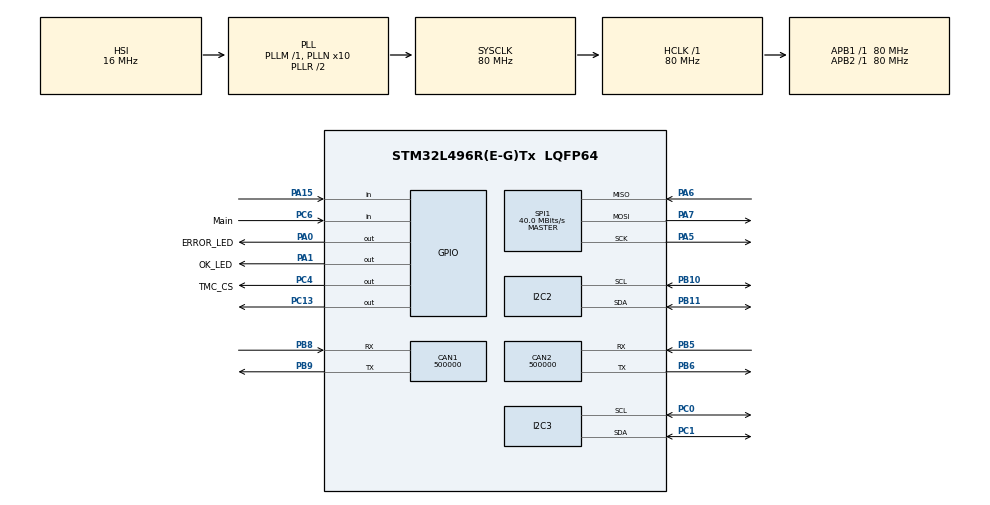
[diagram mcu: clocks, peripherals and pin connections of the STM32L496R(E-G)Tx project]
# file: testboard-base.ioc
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CAN1.BS1=CAN_BS1_8TQ
CAN1.BS2=CAN_BS2_1TQ
CAN1.CalculateBaudRate=500000
CAN1.CalculateTimeBit=2000
CAN1.CalculateTimeQuantum=200.0
CAN2.BS1=CAN_BS1_8TQ
CAN2.BS2=CAN_BS2_1TQ
CAN2.CalculateBaudRate=500000
CAN2.CalculateTimeBit=2000
CAN2.CalculateTimeQuantum=200.0
FREERTOS.Tasks01=defaultTask,24,128,StartDefaultTask,Default,NULL,Dynamic,NULL,NULL
I2C2.Timing=0x10909CEC
I2C3.Timing=0x10909CEC
Mcu.Family=STM32L4
Mcu.Name=STM32L496R(E-G)Tx
Mcu.Package=LQFP64
NVIC.CAN1_RX0_IRQn=true\:5\:0\:false\:false\:true\:true\:true\:true\:true
NVIC.CAN1_RX1_IRQn=true\:5\:0\:false\:false\:true\:true\:true\:true\:true
NVIC.CAN2_RX0_IRQn=true\:5\:0\:false\:false\:true\:true\:true\:true\:true
NVIC.CAN2_RX1_IRQn=true\:5\:0\:false\:false\:true\:true\:true\:true\:true
NVIC.PriorityGroup=NVIC_PRIORITYGROUP_4
NVIC.TIM1_TRG_COM_TIM17_IRQn=true\:15\:0\:false\:false\:true\:false\:false\:true\:true
NVIC.TimeBase=TIM1_TRG_COM_TIM17_IRQn
NVIC.TimeBaseIP=TIM17
PA0.GPIO_Label=ERROR_LED
PA0.Signal=GPIO_Output
PA1.GPIO_Label=OK_LED
PA1.Signal=GPIO_Output
PA13\ (JTMS/SWDIO).Mode=Serial_Wire
PA13\ (JTMS/SWDIO).Signal=SYS_JTMS-SWDIO
PA14\ (JTCK/SWCLK).Mode=Serial_Wire
PA14\ (JTCK/SWCLK).Signal=SYS_JTCK-SWCLK
PA15\ (JTDI).Signal=GPIO_Input
PA2.Signal=ADCx_IN7
PA5.Mode=Full_Duplex_Master
PA5.Signal=SPI1_SCK
PA6.Mode=Full_Duplex_Master
PA6.Signal=SPI1_MISO
PA7.Mode=Full_Duplex_Master
PA7.Signal=SPI1_MOSI
PB10.Mode=I2C
PB10.Signal=I2C2_SCL
PB11.Mode=I2C
PB11.Signal=I2C2_SDA
PB5.Mode=CAN_Activate
PB5.Signal=CAN2_RX
PB6.Mode=CAN_Activate
PB6.Signal=CAN2_TX
PB8.Mode=CAN_Activate
PB8.Signal=CAN1_RX
PB9.Mode=CAN_Activate
PB9.Signal=CAN1_TX
PC0.Mode=I2C
PC0.Signal=I2C3_SCL
PC1.Mode=I2C
PC1.Signal=I2C3_SDA
PC13.Signal=GPIO_Output
PC4.GPIO_Label=TMC_CS
PC4.Signal=GPIO_Output
PC6.GPIO_Label=Main
PC6.Signal=GPIO_Input
PH0-OSC_IN\ (PH0).Mode=HSE-External-Oscillator
PH0-OSC_IN\ (PH0).Signal=RCC_OSC_IN
PH1-OSC_OUT\ (PH1).Mode=HSE-External-Oscillator
PH1-OSC_OUT\ (PH1).Signal=RCC_OSC_OUT
ProjectManager.HeapSize=0x200
ProjectManager.StackSize=0x400
ProjectManager.TargetToolchain=Makefile
RCC.ADCFreq_Value=48000000
RCC.AHBFreq_Value=80000000
RCC.APB1Freq_Value=80000000
RCC.APB1TimFreq_Value=80000000
RCC.APB2Freq_Value=80000000
RCC.APB2TimFreq_Value=80000000
RCC.CortexFreq_Value=80000000
RCC.HCLKFreq_Value=80000000
RCC.HSE_VALUE=16000000
RCC.HSI48_VALUE=48000000
RCC.HSI_VALUE=16000000
RCC.LSE_VALUE=32768
RCC.MSI_VALUE=4000000
RCC.PLLN=10
RCC.PLLSAI1N=12
RCC.PLLSAI1Q=RCC_PLLQ_DIV4
RCC.PLLSAI1R=RCC_PLLR_DIV4
RCC.PLLSourceVirtual=RCC_PLLSOURCE_HSI
RCC.SYSCLKFreq_VALUE=80000000
RCC.SYSCLKSource=RCC_SYSCLKSOURCE_PLLCLK
RCC.USBFreq_Value=48000000
RCC.VCOOutputFreq_Value=160000000
SH.ADCx_IN7.0=ADC2_IN7
SPI1.CalculateBaudRate=40.0 MBits/s
SPI1.Direction=SPI_DIRECTION_2LINES
SPI1.Mode=SPI_MODE_MASTER
SPI1.VirtualType=VM_MASTER
TIM3.Channel-Output\ Compare1\ No\ Output=TIM_CHANNEL_1
TIM3.Period=65535
TIM3.Prescaler=80-1
VP_FREERTOS_VS_CMSIS_V2.Mode=CMSIS_V2
VP_SYS_VS_tim17.Mode=TIM17
VP_TIM3_VS_no_output1.Mode=Output Compare1 No Output
board=custom

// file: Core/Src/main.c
/* USER CODE BEGIN Header */
/**
  ******************************************************************************
  * @file           : main.c
  * @brief          : Main program body
  ******************************************************************************
  * @attention
  *
  * Copyright (c) 2023 STMicroelectronics.
  * All rights reserved.
  *
  * This software is licensed under terms that can be found in the LICENSE file
  * in the root directory of this software component.
  * If no LICENSE file comes with this software, it is provided AS-IS.
  *
  ******************************************************************************
  */
/* USER CODE END Header */
#include "main.h"
#include "cmsis_os.h"

/* USER CODE BEGIN Includes */
// #include "usbd_cdc_if.h"
/* USER CODE END Includes */

CAN_HandleTypeDef hcan1;
CAN_HandleTypeDef hcan2;

I2C_HandleTypeDef hi2c2;
I2C_HandleTypeDef hi2c3;

SPI_HandleTypeDef hspi1;

TIM_HandleTypeDef htim3;

/* Definitions for defaultTask */
osThreadId_t defaultTaskHandle;
const osThreadAttr_t defaultTask_attributes = {
  .name = "defaultTask",
  .stack_size = 128 * 4,
  .priority = (osPriority_t) osPriorityNormal,
};
/* USER CODE BEGIN PV */
uint32_t utick = 0;
uint8_t USBRxDataReady = 0;
uint8_t* USBRxDataBuffer;
uint8_t USBRxDataLength = 0;
/* USER CODE END PV */

void SystemClock_Config(void);
static void MX_GPIO_Init(void);
static void MX_CAN1_Init(void);
static void MX_CAN2_Init(void);
static void MX_I2C2_Init(void);
static void MX_TIM3_Init(void);
static void MX_I2C3_Init(void);
static void MX_SPI1_Init(void);
void StartDefaultTask(void *argument);

/* USER CODE BEGIN PFP */
void CPP_UserSetup(void);
/* USER CODE END PFP */

/* USER CODE BEGIN 0 */
void USBRxHandler(uint8_t* buf, uint32_t Len){

	USBRxDataBuffer = buf;
	USBRxDataLength = Len;
	USBRxDataReady = 1;
  HAL_GPIO_TogglePin(OK_LED_GPIO_Port, OK_LED_Pin);
	return;

}

/* USER CODE END 0 */

int main(void)
{

  /* MCU Configuration--------------------------------------------------------*/

  /* Reset of all peripherals, Initializes the Flash interface and the Systick. */
  HAL_Init();

  /* Configure the system clock */
  SystemClock_Config();

  /* USER CODE BEGIN SysInit */

  // Set timebase interrupt to a high priority to enable HAL_Delay() during initialization
  HAL_NVIC_SetPriority(TIM1_TRG_COM_TIM17_IRQn, 1U, 0U);
  __enable_irq();
  __set_BASEPRI(6);

  /* USER CODE END SysInit */

  /* Initialize all configured peripherals */
  MX_GPIO_Init();
  MX_CAN1_Init();
  MX_CAN2_Init();
  MX_I2C2_Init();
  MX_TIM3_Init();
  MX_I2C3_Init();
  MX_SPI1_Init();
  /* USER CODE BEGIN 2 */
  CPP_UserSetup();

  // Change timebase priority back to normal
  HAL_NVIC_SetPriority(TIM1_TRG_COM_TIM17_IRQn, 15U, 0U);
  /* USER CODE END 2 */

  /* Init scheduler */
  osKernelInitialize();

  /* Create the thread(s) */
  /* creation of defaultTask */
  defaultTaskHandle = osThreadNew(StartDefaultTask, NULL, &defaultTask_attributes);

  /* Start scheduler */
  osKernelStart();

  /* We should never get here as control is now taken by the scheduler */
  /* Infinite loop */
  while (1)
  {

  }
}

void SystemClock_Config(void)
{
  RCC_OscInitTypeDef RCC_OscInitStruct = {0};
  RCC_ClkInitTypeDef RCC_ClkInitStruct = {0};

  /** Configure the main internal regulator output voltage
  */
  if (HAL_PWREx_ControlVoltageScaling(PWR_REGULATOR_VOLTAGE_SCALE1) != HAL_OK)
  {
    Error_Handler();
  }

  /** Initializes the RCC Oscillators according to the specified parameters
  * in the RCC_OscInitTypeDef structure.
  */
  RCC_OscInitStruct.OscillatorType = RCC_OSCILLATORTYPE_HSI;
  RCC_OscInitStruct.HSIState = RCC_HSI_ON;
  RCC_OscInitStruct.HSICalibrationValue = RCC_HSICALIBRATION_DEFAULT;
  RCC_OscInitStruct.PLL.PLLState = RCC_PLL_ON;
  RCC_OscInitStruct.PLL.PLLSource = RCC_PLLSOURCE_HSI;
  RCC_OscInitStruct.PLL.PLLM = 1;
  RCC_OscInitStruct.PLL.PLLN = 10;
  RCC_OscInitStruct.PLL.PLLP = RCC_PLLP_DIV2;
  RCC_OscInitStruct.PLL.PLLQ = RCC_PLLQ_DIV2;
  RCC_OscInitStruct.PLL.PLLR = RCC_PLLR_DIV2;
  if (HAL_RCC_OscConfig(&RCC_OscInitStruct) != HAL_OK)
  {
    Error_Handler();
  }

  /** Initializes the CPU, AHB and APB buses clocks
  */
  RCC_ClkInitStruct.ClockType = RCC_CLOCKTYPE_HCLK|RCC_CLOCKTYPE_SYSCLK
                              |RCC_CLOCKTYPE_PCLK1|RCC_CLOCKTYPE_PCLK2;
  RCC_ClkInitStruct.SYSCLKSource = RCC_SYSCLKSOURCE_PLLCLK;
  RCC_ClkInitStruct.AHBCLKDivider = RCC_SYSCLK_DIV1;
  RCC_ClkInitStruct.APB1CLKDivider = RCC_HCLK_DIV1;
  RCC_ClkInitStruct.APB2CLKDivider = RCC_HCLK_DIV1;

  if (HAL_RCC_ClockConfig(&RCC_ClkInitStruct, FLASH_LATENCY_4) != HAL_OK)
  {
    Error_Handler();
  }
}

static void MX_CAN1_Init(void)
{

  hcan1.Instance = CAN1;
  hcan1.Init.Prescaler = 16;
  hcan1.Init.Mode = CAN_MODE_NORMAL;
  hcan1.Init.SyncJumpWidth = CAN_SJW_1TQ;
  hcan1.Init.TimeSeg1 = CAN_BS1_8TQ;
  hcan1.Init.TimeSeg2 = CAN_BS2_1TQ;
  hcan1.Init.TimeTriggeredMode = DISABLE;
  hcan1.Init.AutoBusOff = DISABLE;
  hcan1.Init.AutoWakeUp = DISABLE;
  hcan1.Init.AutoRetransmission = DISABLE;
  hcan1.Init.ReceiveFifoLocked = DISABLE;
  hcan1.Init.TransmitFifoPriority = DISABLE;
  if (HAL_CAN_Init(&hcan1) != HAL_OK)
  {
    Error_Handler();
  }

}

static void MX_CAN2_Init(void)
{

  hcan2.Instance = CAN2;
  hcan2.Init.Prescaler = 16;
  hcan2.Init.Mode = CAN_MODE_NORMAL;
  hcan2.Init.SyncJumpWidth = CAN_SJW_1TQ;
  hcan2.Init.TimeSeg1 = CAN_BS1_8TQ;
  hcan2.Init.TimeSeg2 = CAN_BS2_1TQ;
  hcan2.Init.TimeTriggeredMode = DISABLE;
  hcan2.Init.AutoBusOff = DISABLE;
  hcan2.Init.AutoWakeUp = DISABLE;
  hcan2.Init.AutoRetransmission = DISABLE;
  hcan2.Init.ReceiveFifoLocked = DISABLE;
  hcan2.Init.TransmitFifoPriority = DISABLE;
  if (HAL_CAN_Init(&hcan2) != HAL_OK)
  {
    Error_Handler();
  }

}

static void MX_I2C2_Init(void)
{

  hi2c2.Instance = I2C2;
  hi2c2.Init.Timing = 0x10909CEC;
  hi2c2.Init.OwnAddress1 = 0;
  hi2c2.Init.AddressingMode = I2C_ADDRESSINGMODE_7BIT;
  hi2c2.Init.DualAddressMode = I2C_DUALADDRESS_DISABLE;
  hi2c2.Init.OwnAddress2 = 0;
  hi2c2.Init.OwnAddress2Masks = I2C_OA2_NOMASK;
  hi2c2.Init.GeneralCallMode = I2C_GENERALCALL_DISABLE;
  hi2c2.Init.NoStretchMode = I2C_NOSTRETCH_DISABLE;
  if (HAL_I2C_Init(&hi2c2) != HAL_OK)
  {
    Error_Handler();
  }

  /** Configure Analogue filter
  */
  if (HAL_I2CEx_ConfigAnalogFilter(&hi2c2, I2C_ANALOGFILTER_ENABLE) != HAL_OK)
  {
    Error_Handler();
  }

  /** Configure Digital filter
  */
  if (HAL_I2CEx_ConfigDigitalFilter(&hi2c2, 0) != HAL_OK)
  {
    Error_Handler();
  }

}

static void MX_I2C3_Init(void)
{

  hi2c3.Instance = I2C3;
  hi2c3.Init.Timing = 0x10909CEC;
  hi2c3.Init.OwnAddress1 = 0;
  hi2c3.Init.AddressingMode = I2C_ADDRESSINGMODE_7BIT;
  hi2c3.Init.DualAddressMode = I2C_DUALADDRESS_DISABLE;
  hi2c3.Init.OwnAddress2 = 0;
  hi2c3.Init.OwnAddress2Masks = I2C_OA2_NOMASK;
  hi2c3.Init.GeneralCallMode = I2C_GENERALCALL_DISABLE;
  hi2c3.Init.NoStretchMode = I2C_NOSTRETCH_DISABLE;
  if (HAL_I2C_Init(&hi2c3) != HAL_OK)
  {
    Error_Handler();
  }

  /** Configure Analogue filter
  */
  if (HAL_I2CEx_ConfigAnalogFilter(&hi2c3, I2C_ANALOGFILTER_ENABLE) != HAL_OK)
  {
    Error_Handler();
  }

  /** Configure Digital filter
  */
  if (HAL_I2CEx_ConfigDigitalFilter(&hi2c3, 0) != HAL_OK)
  {
    Error_Handler();
  }

}

static void MX_SPI1_Init(void)
{

  /* SPI1 parameter configuration*/
  hspi1.Instance = SPI1;
  hspi1.Init.Mode = SPI_MODE_MASTER;
  hspi1.Init.Direction = SPI_DIRECTION_2LINES;
  hspi1.Init.DataSize = SPI_DATASIZE_4BIT;
  hspi1.Init.CLKPolarity = SPI_POLARITY_LOW;
  hspi1.Init.CLKPhase = SPI_PHASE_1EDGE;
  hspi1.Init.NSS = SPI_NSS_SOFT;
  hspi1.Init.BaudRatePrescaler = SPI_BAUDRATEPRESCALER_2;
  hspi1.Init.FirstBit = SPI_FIRSTBIT_MSB;
  hspi1.Init.TIMode = SPI_TIMODE_DISABLE;
  hspi1.Init.CRCCalculation = SPI_CRCCALCULATION_DISABLE;
  hspi1.Init.CRCPolynomial = 7;
  hspi1.Init.CRCLength = SPI_CRC_LENGTH_DATASIZE;
  hspi1.Init.NSSPMode = SPI_NSS_PULSE_ENABLE;
  if (HAL_SPI_Init(&hspi1) != HAL_OK)
  {
    Error_Handler();
  }

}

static void MX_TIM3_Init(void)
{

  TIM_MasterConfigTypeDef sMasterConfig = {0};
  TIM_OC_InitTypeDef sConfigOC = {0};

  htim3.Instance = TIM3;
  htim3.Init.Prescaler = 80-1;
  htim3.Init.CounterMode = TIM_COUNTERMODE_UP;
  htim3.Init.Period = 65535;
  htim3.Init.ClockDivision = TIM_CLOCKDIVISION_DIV1;
  htim3.Init.AutoReloadPreload = TIM_AUTORELOAD_PRELOAD_DISABLE;
  if (HAL_TIM_OC_Init(&htim3) != HAL_OK)
  {
    Error_Handler();
  }
  sMasterConfig.MasterOutputTrigger = TIM_TRGO_RESET;
  sMasterConfig.MasterSlaveMode = TIM_MASTERSLAVEMODE_DISABLE;
  if (HAL_TIMEx_MasterConfigSynchronization(&htim3, &sMasterConfig) != HAL_OK)
  {
    Error_Handler();
  }
  sConfigOC.OCMode = TIM_OCMODE_TIMING;
  sConfigOC.Pulse = 0;
  sConfigOC.OCPolarity = TIM_OCPOLARITY_HIGH;
  sConfigOC.OCFastMode = TIM_OCFAST_DISABLE;
  if (HAL_TIM_OC_ConfigChannel(&htim3, &sConfigOC, TIM_CHANNEL_1) != HAL_OK)
  {
    Error_Handler();
  }

}

static void MX_GPIO_Init(void)
{
  GPIO_InitTypeDef GPIO_InitStruct = {0};

  /* GPIO Ports Clock Enable */
  __HAL_RCC_GPIOC_CLK_ENABLE();
  __HAL_RCC_GPIOH_CLK_ENABLE();
  __HAL_RCC_GPIOA_CLK_ENABLE();
  __HAL_RCC_GPIOB_CLK_ENABLE();

  /*Configure GPIO pin Output Level */
  HAL_GPIO_WritePin(GPIOC, GPIO_PIN_13|TMC_CS_Pin, GPIO_PIN_RESET);

  /*Configure GPIO pin Output Level */
  HAL_GPIO_WritePin(GPIOA, ERROR_LED_Pin|OK_LED_Pin, GPIO_PIN_RESET);

  /*Configure GPIO pins : PC13 TMC_CS_Pin */
  GPIO_InitStruct.Pin = GPIO_PIN_13|TMC_CS_Pin;
  GPIO_InitStruct.Mode = GPIO_MODE_OUTPUT_PP;
  GPIO_InitStruct.Pull = GPIO_NOPULL;
  GPIO_InitStruct.Speed = GPIO_SPEED_FREQ_LOW;
  HAL_GPIO_Init(GPIOC, &GPIO_InitStruct);

  /*Configure GPIO pins : ERROR_LED_Pin OK_LED_Pin */
  GPIO_InitStruct.Pin = ERROR_LED_Pin|OK_LED_Pin;
  GPIO_InitStruct.Mode = GPIO_MODE_OUTPUT_PP;
  GPIO_InitStruct.Pull = GPIO_NOPULL;
  GPIO_InitStruct.Speed = GPIO_SPEED_FREQ_LOW;
  HAL_GPIO_Init(GPIOA, &GPIO_InitStruct);

  /*Configure GPIO pin : PA2 */
  GPIO_InitStruct.Pin = GPIO_PIN_2;
  GPIO_InitStruct.Mode = GPIO_MODE_ANALOG;
  GPIO_InitStruct.Pull = GPIO_NOPULL;
  HAL_GPIO_Init(GPIOA, &GPIO_InitStruct);

  /*Configure GPIO pin : Main_Pin */
  GPIO_InitStruct.Pin = Main_Pin;
  GPIO_InitStruct.Mode = GPIO_MODE_INPUT;
  GPIO_InitStruct.Pull = GPIO_NOPULL;
  HAL_GPIO_Init(Main_GPIO_Port, &GPIO_InitStruct);

  /*Configure GPIO pin : PA15 */
  GPIO_InitStruct.Pin = GPIO_PIN_15;
  GPIO_InitStruct.Mode = GPIO_MODE_INPUT;
  GPIO_InitStruct.Pull = GPIO_NOPULL;
  HAL_GPIO_Init(GPIOA, &GPIO_InitStruct);

}

void StartDefaultTask(void *argument)
{
  for(;;)
  {
    osDelay(1);
  }
}

void HAL_TIM_PeriodElapsedCallback(TIM_HandleTypeDef *htim)
{
  if (htim->Instance == TIM17) {
    HAL_IncTick();
  }
}

void Error_Handler(void)
{
  __disable_irq();
  while (1)
  {
  }
}
